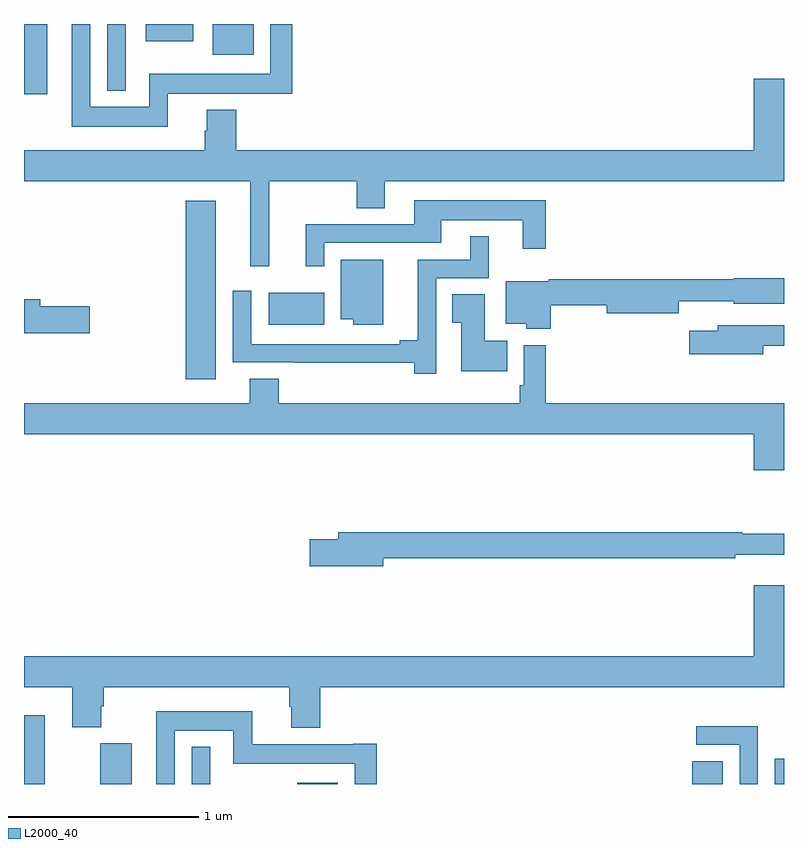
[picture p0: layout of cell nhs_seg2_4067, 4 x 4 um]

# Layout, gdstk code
import gdstk
lib = gdstk.Library(unit=1e-6, precision=1e-09)
def R(c, l, rs):  # rectangles x0, y0, x1, y1
    for r in rs: c.add(gdstk.rectangle(r[:2], r[2:], *l))
def P(c, l, *ps):  # polygons
    for p in ps: c.add(gdstk.Polygon(p, *l))
L2000_40 = (2000, 40)

nhs_seg2_4067 = lib.new_cell('nhs_seg2_4067')
R(nhs_seg2_4067, L2000_40, [(329.402,641.8,329.566,642.015), (329.883,641.8,329.979,641.995), (330.437,641.8,330.652,641.806), (332.516,641.8,332.677,641.921), (332.951,641.8,333,641.932), (329.852,643.929,330.01,644.869), (330.287,644.216,330.58,644.386), (329,645.43,329.122,645.8), (329.439,645.449,329.535,645.8), (329.993,645.638,330.208,645.8), (329.642,645.71,329.89,645.8)])
P(nhs_seg2_4067, L2000_40, [(329.756,645.434),(330.29,645.434),(330.29,645.432),(330.413,645.432),(330.413,645.8),(330.297,645.8),(330.297,645.538),(329.658,645.538),(329.658,645.364),(329.349,645.364),(329.349,645.8),(329.252,645.8),(329.252,645.26),(329.756,645.26)],
  [(330.29,644.972),(330.751,644.972),(330.751,644.83),(330.898,644.83),(330.898,644.972),(333,644.972),(333,645.511),(332.84,645.511),(332.84,645.136),(330.116,645.136),(330.116,645.349),(329.963,645.349),(329.963,645.237),(329.951,645.237),(329.951,645.136),(329,645.136),(329,644.972),(330.191,644.972),(330.191,644.526),(330.29,644.526)],
  [(330.579,644.649),(331.195,644.649),(331.195,644.768),(331.625,644.768),(331.625,644.616),(331.747,644.616),(331.747,644.872),(331.055,644.872),(331.055,644.745),(330.482,644.745),(330.482,644.526),(330.579,644.526)],
  [(331.17,644.463),(331.447,644.463),(331.447,644.683),(331.349,644.683),(331.349,644.559),(331.073,644.559),(331.073,644.135),(330.977,644.135),(330.977,644.115),(330.195,644.115),(330.195,644.395),(330.099,644.395),(330.099,644.019),(330.424,644.019),(330.424,644.018),(331.054,644.018),(331.054,643.959),(331.17,643.959)],
  [(330.892,644.56),(330.668,644.56),(330.668,644.246),(330.734,644.246),(330.734,644.216),(330.892,644.216)],
  [(331.773,644.32),(332.066,644.32),(332.066,644.278),(332.446,644.278),(332.446,644.34),(332.736,644.34),(332.736,644.327),(333,644.327),(333,644.462),(332.736,644.462),(332.736,644.456),(331.761,644.456),(331.761,644.446),(331.535,644.446),(331.535,644.222),(331.644,644.222),(331.644,644.195),(331.773,644.195)],
  [(331.544,644.134),(331.426,644.134),(331.426,644.378),(331.255,644.378),(331.255,644.227),(331.301,644.227),(331.301,643.973),(331.544,643.973)],
  [(329.347,644.315),(329.086,644.315),(329.086,644.351),(329,644.351),(329,644.173),(329.347,644.173)],
  [(332.89,644.106),(333,644.106),(333,644.214),(332.651,644.214),(332.651,644.185),(332.502,644.185),(332.502,644.063),(332.89,644.063)],
  [(333,643.804),(331.745,643.804),(331.745,644.11),(331.629,644.11),(331.629,643.9),(331.609,643.9),(331.609,643.804),(330.341,643.804),(330.341,643.934),(330.188,643.934),(330.188,643.804),(329,643.804),(329,643.64),(332.84,643.64),(332.84,643.452),(333,643.452)],
  [(330.892,642.988),(332.744,642.988),(332.744,643.007),(333,643.007),(333,643.117),(332.78,643.117),(332.78,643.124),(330.653,643.124),(330.653,643.088),(330.504,643.088),(330.504,642.946),(330.892,642.946)],
  [(330.56,642.308),(333,642.308),(333,642.847),(332.84,642.847),(332.84,642.472),(329,642.472),(329,642.308),(329.255,642.308),(329.255,642.1),(329.407,642.1),(329.407,642.209),(329.42,642.209),(329.42,642.308),(330.395,642.308),(330.395,642.207),(330.407,642.207),(330.407,642.095),(330.56,642.095)],
  [(329.793,642.08),(330.102,642.08),(330.102,641.906),(330.741,641.906),(330.741,641.8),(330.857,641.8),(330.857,642.013),(330.734,642.013),(330.734,642.01),(330.2,642.01),(330.2,642.184),(329.696,642.184),(329.696,641.8),(329.793,641.8)],
  [(329.109,641.842),(329.11,641.842),(329.11,642.163),(329,642.163),(329,641.8),(329.109,641.8)],
  [(332.862,642.104),(332.538,642.104),(332.538,642.006),(332.766,642.006),(332.766,641.8),(332.862,641.8)])

lib.write_gds('nhs_seg2_4067.gds')
